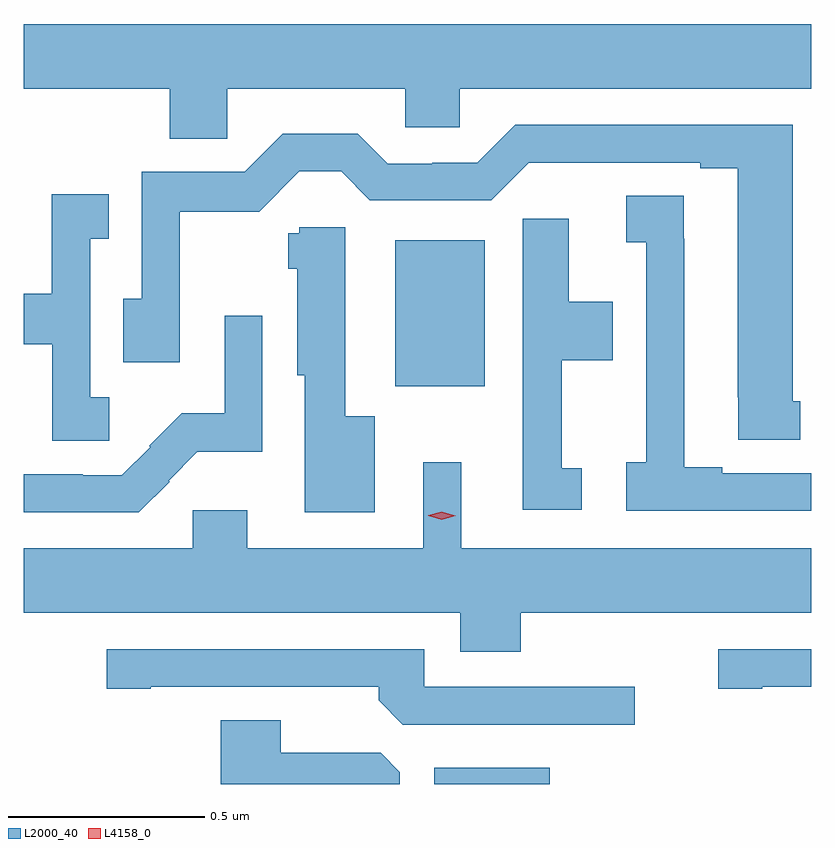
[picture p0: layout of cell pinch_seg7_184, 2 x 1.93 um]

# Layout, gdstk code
import gdstk
lib = gdstk.Library(unit=1e-6, precision=1e-09)
def R(c, l, rs):  # rectangles x0, y0, x1, y1
    for r in rs: c.add(gdstk.rectangle(r[:2], r[2:], *l))
def P(c, l, *ps):  # polygons
    for p in ps: c.add(gdstk.Polygon(p, *l))
L2000_40 = (2000, 40)
L4158_0 = (4158, 0)

pinch_seg7_184 = lib.new_cell('pinch_seg7_184')
R(pinch_seg7_184, L2000_40, [(1083.161,1037.477,1083.454,1037.518), (1083.062,1038.488,1083.289,1038.859)])
P(pinch_seg7_184, L2000_40, [(1082.634,1039.244),(1083.087,1039.244),(1083.087,1039.146),(1083.225,1039.146),(1083.225,1039.244),(1084.118,1039.244),(1084.118,1039.408),(1082.118,1039.408),(1082.118,1039.244),(1082.488,1039.244),(1082.488,1039.117),(1082.634,1039.117)],
  [(1084.09,1038.45),(1084.072,1038.45),(1084.072,1039.152),(1083.366,1039.152),(1083.27,1039.056),(1083.155,1039.056),(1083.155,1039.053),(1083.042,1039.053),(1082.966,1039.129),(1082.776,1039.129),(1082.679,1039.032),(1082.418,1039.032),(1082.418,1038.71),(1082.371,1038.71),(1082.371,1038.549),(1082.514,1038.549),(1082.514,1038.931),(1082.716,1038.931),(1082.818,1039.034),(1082.924,1039.034),(1082.997,1038.96),(1083.306,1038.96),(1083.401,1039.055),(1083.505,1039.055),(1083.505,1039.056),(1083.836,1039.056),(1083.836,1039.041),(1083.932,1039.041),(1083.932,1038.46),(1083.933,1038.46),(1083.933,1038.352),(1084.09,1038.352)],
  [(1082.335,1038.46),(1082.286,1038.46),(1082.286,1038.863),(1082.333,1038.863),(1082.333,1038.976),(1082.189,1038.976),(1082.189,1038.722),(1082.118,1038.722),(1082.118,1038.594),(1082.19,1038.594),(1082.19,1038.349),(1082.335,1038.349)],
  [(1084.118,1038.267),(1083.892,1038.267),(1083.892,1038.282),(1083.796,1038.282),(1083.796,1038.863),(1083.795,1038.863),(1083.795,1038.971),(1083.648,1038.971),(1083.648,1038.853),(1083.699,1038.853),(1083.699,1038.295),(1083.648,1038.295),(1083.648,1038.171),(1084.118,1038.171)],
  [(1083.535,1038.279),(1083.485,1038.279),(1083.485,1038.554),(1083.614,1038.554),(1083.614,1038.702),(1083.502,1038.702),(1083.502,1038.913),(1083.386,1038.913),(1083.386,1038.174),(1083.535,1038.174)],
  [(1083.01,1038.412),(1082.935,1038.412),(1082.935,1038.891),(1082.817,1038.891),(1082.817,1038.876),(1082.789,1038.876),(1082.789,1038.786),(1082.813,1038.786),(1082.813,1038.516),(1082.832,1038.516),(1082.832,1038.167),(1083.01,1038.167)],
  [(1082.488,1038.245),(1082.486,1038.248),(1082.559,1038.321),(1082.724,1038.321),(1082.724,1038.667),(1082.628,1038.667),(1082.628,1038.419),(1082.519,1038.419),(1082.436,1038.336),(1082.439,1038.333),(1082.367,1038.261),(1082.267,1038.261),(1082.267,1038.264),(1082.118,1038.264),(1082.118,1038.168),(1082.41,1038.168)],
  [(1082.547,1038.172),(1082.547,1038.076),(1082.118,1038.076),(1082.118,1037.912),(1083.227,1037.912),(1083.227,1037.813),(1083.38,1037.813),(1083.38,1037.912),(1084.118,1037.912),(1084.118,1038.076),(1083.229,1038.076),(1083.229,1038.295),(1083.132,1038.295),(1083.132,1038.076),(1082.686,1038.076),(1082.686,1038.172)],
  [(1083.67,1037.724),(1083.135,1037.724),(1083.135,1037.82),(1082.328,1037.82),(1082.328,1037.719),(1082.44,1037.719),(1082.44,1037.724),(1083.02,1037.724),(1083.02,1037.69),(1083.081,1037.628),(1083.67,1037.628)],
  [(1083.994,1037.724),(1084.118,1037.724),(1084.118,1037.82),(1083.882,1037.82),(1083.882,1037.719),(1083.994,1037.719)],
  [(1083.073,1037.507),(1083.024,1037.556),(1082.77,1037.556),(1082.77,1037.639),(1082.618,1037.639),(1082.618,1037.477),(1083.073,1037.477)])
P(pinch_seg7_184, L4158_0, [(1083.18,1038.149),(1083.145,1038.159),(1083.145,1038.159),(1083.145,1038.16),(1083.18,1038.169),(1083.215,1038.159),(1083.215,1038.158),(1083.215,1038.158)])

lib.write_gds('pinch_seg7_184.gds')
